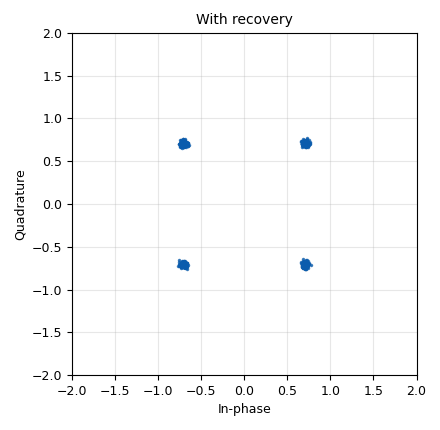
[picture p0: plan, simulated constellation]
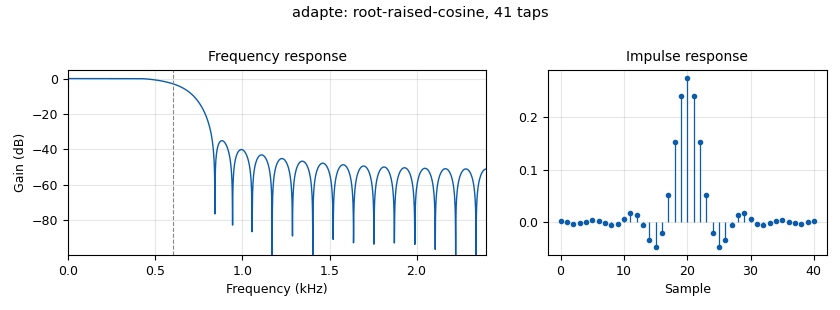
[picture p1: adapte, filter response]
options:
  parameters:
    generate_options: qt_gui
    id: fg_tp15_002
    output_language: python
    title: FG-TP15-002
  states: {}

blocks:
- name: constellation
  id: variable_constellation
  parameters:
    precision: '8'
    type: qpsk
  states: {}
- name: echo
  id: variable_qtgui_range
  parameters:
    gui_hint: 3,0,1,1
    label: '"Echo, un symbole plus tard"'
    start: '0'
    step: '0.05'
    stop: '0.7'
    value: '0'
  states: {}
- name: excess_bw
  id: variable
  parameters:
    value: '0.35'
  states: {}
- name: noise
  id: variable_qtgui_range
  parameters:
    gui_hint: 0,0,1,1
    label: '"Noise"'
    start: '0'
    step: '0.01'
    stop: '0.4'
    value: '0.05'
  states: {}
- name: normalize
  id: variable
  parameters:
    value: 1.0/math.sqrt(sum(abs(p)**2 for p in constellation.points())/len(constellation.points()))
  states: {}
- name: offset
  id: variable_qtgui_range
  parameters:
    gui_hint: 1,0,1,1
    label: '"Frequency Offset"'
    start: '-0.02'
    step: '0.001'
    stop: '0.02'
    value: '0'
  states: {}
- name: samp_rate
  id: variable
  parameters:
    value: symbol_rate * sps
  states: {}
- name: sps
  id: variable
  parameters:
    value: '4'
  states: {}
- name: symbol_rate
  id: variable
  parameters:
    value: '1200'
  states: {}
- name: timing
  id: variable_qtgui_range
  parameters:
    gui_hint: 2,0,1,1
    label: '"Erreur de timing"'
    start: '0.99'
    step: '0.0005'
    stop: '1.01'
    value: '1.0'
  states: {}
- name: adapte
  id: root_raised_cosine_filter
  parameters:
    alpha: excess_bw
    decim: '1'
    gain: '1'
    ntaps: '41'
    samp_rate: samp_rate
    sym_rate: symbol_rate
    type: fir_filter_ccf
  states: {}
- name: canal
  id: channels_channel_model
  parameters:
    epsilon: timing
    freq_offset: offset
    noise_voltage: noise
    seed: '0'
    taps: '[1.0 + 0.0j] + [0.0j] * (sps - 1) + [echo + 0.0j]'
  states: {}
- name: debit_flux
  id: blocks_throttle2
  parameters:
    samples_per_second: samp_rate
    type: complex
  states: {}
- name: egaliser
  id: blocks_multiply_const_vxx
  parameters:
    const: normalize
    type: complex
  states: {}
- name: importer_math
  id: import
  parameters:
    imports: import math
  states: {}
- name: moduler
  id: digital_constellation_modulator
  parameters:
    constellation: constellation
    differential: 'False'
    excess_bw: excess_bw
    samples_per_symbol: sps
  states: {}
- name: octets
  id: analog_random_source_x
  parameters:
    max: '256'
    min: '0'
    num_samps: '1000'
    repeat: 'True'
    type: byte
  states: {}
- name: phase_sync
  id: digital_costas_loop_cc
  parameters:
    order: '4'
    w: '0.05'
  states: {}
- name: plan
  id: qtgui_const_sink_x
  parameters:
    grid: 'True'
    gui_hint: 4,0,1,1
    legend: 'False'
    name: '"With recovery"'
    size: '1024'
    type: complex
  states: {}
- name: rythme_sync
  id: digital_symbol_sync_xx
  parameters:
    damping: '1.0'
    loop_bw: '0.045'
    max_dev: '1.5'
    osps: '1'
    resamp_type: digital.IR_MMSE_8TAP
    sps: sps
    ted_gain: '1.0'
    ted_type: digital.TED_GARDNER
    type: cc
  states: {}

connections:
- [adapte, '0', rythme_sync, '0']
- [canal, '0', adapte, '0']
- [debit_flux, '0', canal, '0']
- [egaliser, '0', debit_flux, '0']
- [moduler, '0', egaliser, '0']
- [octets, '0', moduler, '0']
- [phase_sync, '0', plan, '0']
- [rythme_sync, '0', phase_sync, '0']

metadata:
  file_format: 1
  grc_version: 3.10.12.0
